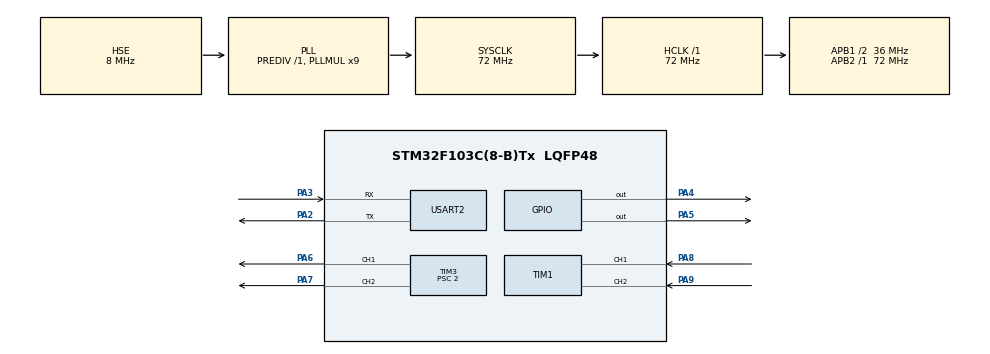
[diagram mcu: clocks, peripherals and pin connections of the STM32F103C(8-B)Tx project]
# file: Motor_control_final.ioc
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Mcu.Family=STM32F1
Mcu.Name=STM32F103C(8-B)Tx
Mcu.Package=LQFP48
NVIC.PriorityGroup=NVIC_PRIORITYGROUP_4
NVIC.TIM2_IRQn=true\:1\:0\:true\:false\:true\:true\:true
NVIC.USART2_IRQn=true\:1\:0\:true\:false\:true\:true\:true
PA13.Mode=Serial_Wire
PA13.Signal=SYS_JTMS-SWDIO
PA14.Mode=Serial_Wire
PA14.Signal=SYS_JTCK-SWCLK
PA2.Mode=Asynchronous
PA2.Signal=USART2_TX
PA3.Mode=Asynchronous
PA3.Signal=USART2_RX
PA4.Signal=GPIO_Output
PA5.Signal=GPIO_Output
PA6.Signal=S_TIM3_CH1
PA7.Signal=S_TIM3_CH2
PA8.Signal=S_TIM1_CH1
PA9.Signal=S_TIM1_CH2
PD0-OSC_IN.Mode=HSE-External-Oscillator
PD0-OSC_IN.Signal=RCC_OSC_IN
PD1-OSC_OUT.Mode=HSE-External-Oscillator
PD1-OSC_OUT.Signal=RCC_OSC_OUT
ProjectManager.HeapSize=0x200
ProjectManager.StackSize=0x400
ProjectManager.TargetToolchain=STM32CubeIDE
RCC.AHBFreq_Value=72000000
RCC.APB1CLKDivider=RCC_HCLK_DIV2
RCC.APB1Freq_Value=36000000
RCC.APB1TimFreq_Value=72000000
RCC.APB2Freq_Value=72000000
RCC.APB2TimFreq_Value=72000000
RCC.HCLKFreq_Value=72000000
RCC.PLLMUL=RCC_PLL_MUL9
RCC.PLLSourceVirtual=RCC_PLLSOURCE_HSE
RCC.SYSCLKFreq_VALUE=72000000
RCC.SYSCLKSource=RCC_SYSCLKSOURCE_PLLCLK
RCC.USBFreq_Value=72000000
SH.S_TIM1_CH1.0=TIM1_CH1,Encoder_Interface
SH.S_TIM1_CH2.0=TIM1_CH2,Encoder_Interface
SH.S_TIM3_CH1.0=TIM3_CH1,PWM Generation1 CH1
SH.S_TIM3_CH2.0=TIM3_CH2,PWM Generation2 CH2
TIM1.EncoderMode=TIM_ENCODERMODE_TI12
TIM2.AutoReloadPreload=TIM_AUTORELOAD_PRELOAD_ENABLE
TIM2.Period=1999
TIM2.Prescaler=719
TIM3.Channel-PWM\ Generation1\ CH1=TIM_CHANNEL_1
TIM3.Channel-PWM\ Generation2\ CH2=TIM_CHANNEL_2
TIM3.Period=999
TIM3.Prescaler=2
USART2.VirtualMode=VM_ASYNC
VP_TIM2_VS_ClockSourceINT.Mode=Internal
board=custom

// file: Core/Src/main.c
/* USER CODE BEGIN Header */
/**
  ******************************************************************************
  * @file           : main.c
  * @brief          : Main program body
  ******************************************************************************
  * @attention
  *
  * <h2><center>&copy; Copyright (c) 2022 STMicroelectronics.
  * All rights reserved.</center></h2>
  *
  * This software component is licensed by ST under BSD 3-Clause license,
  * the "License"; You may not use this file except in compliance with the
  * License. You may obtain a copy of the License at:
  *                        opensource.org/licenses/BSD-3-Clause
  *
  ******************************************************************************
  */
/* USER CODE END Header */
#include "main.h"

/* USER CODE BEGIN Includes */
#include <stdio.h>
#include <string.h>
#include <stdint.h>
/* USER CODE END Includes */

/* USER CODE BEGIN PTD */
typedef struct {
	float Kp;
	float Ki;
	float Kd;
	float ek_1;
	float I_part;
} PID_t;  //pid struct

enum
{
     ModeIdle = 0, //sleep
     ModePidPos,
	 ModePPR,
	 ModePidVel
}ModeEnum;
unsigned int ProcessMode = ModeIdle;
/* USER CODE END PTD */

/* USER CODE BEGIN PD */
#define Ts 0.02f
#define DUTY_50 150 //DUTY FOR GET PPR
#define T_60S 3000
/* USER CODE END PD */

TIM_HandleTypeDef htim1;
TIM_HandleTypeDef htim2;
TIM_HandleTypeDef htim3;

UART_HandleTypeDef huart2;

/* USER CODE BEGIN PV */
PID_t ParaPID;
int32_t EncPos; //Encoder Position
int32_t tempPos;
float speed[2];
float u_control; //duty
float setpoint;

char ProcessFlag = 0;
char TXData[40];
char RXData_Buff[40];

uint8_t RXData;
uint8_t RXIndex = 0;
uint8_t SysQuest = 10; //Start = 0, Stop = 1, Reset = 2
uint8_t Temp;
uint16_t rpm = 1;
uint16_t ppr = 1;
char PPRFlag =0;// Flag for get PPR
uint16_t count_60s = 0;// time check ppr
uint8_t EncMode;

/* USER CODE END PV */

void SystemClock_Config(void);
static void MX_GPIO_Init(void);
static void MX_TIM2_Init(void);
static void MX_TIM3_Init(void);
static void MX_USART2_UART_Init(void);
static void MX_TIM1_Init(void);
/* USER CODE BEGIN PFP */
void init_Encx1(void);
void init_Encx4(void);
/* USER CODE END PFP */

/* USER CODE BEGIN 0 */
void read_encoder()
{
	tempPos = (int16_t)(htim1.Instance->CNT);
	EncPos += tempPos;
	htim1.Instance->CNT=0;
}

void GetPPR(uint16_t local_rpm, uint16_t *p_ppr)
{
	u_control = 1;
	if(count_60s == T_60S)
	{
		*p_ppr = EncPos/local_rpm;
		count_60s = 0;
		PPRFlag = 1;
		EncPos = 0;
	}
}

void HAL_TIM_PeriodElapsedCallback(TIM_HandleTypeDef *htim)
{

	if(htim->Instance == htim2.Instance)
	{
		read_encoder();
		ProcessFlag=1;
		if(count_60s < T_60S) count_60s +=1;
	}
}

void PID_controller(float SP, float PV, PID_t *pid, float *u)
{
	float ek;
	ek = SP - PV;
	pid->I_part += Ts*ek;
	*u = pid->Kp*ek + pid->Ki*pid->I_part + pid->Kd*(ek-pid->ek_1)/Ts;
	pid->ek_1 = ek;
}

void xuat_PWM(float duty)  //use timer 2 to export PWM, 50Hz
{
	if (duty >= 1) duty = 1;
	else if (duty <= -1) duty = -1;

	int16_t pwm = duty*900;
	if (pwm>=0)
		{
			htim3.Instance->CCR1=0;
			htim3.Instance->CCR2=pwm;
		}
	else if(pwm < 0)
		{
			pwm *= -1;
			htim3.Instance->CCR2=0;
			htim3.Instance->CCR1=pwm;
		}
}

void process_RXData()
{
	if(RXData_Buff[0] == '0')
	{
		sscanf(RXData_Buff, "%u %u %u", &Temp, &SysQuest, &ProcessMode);
		if(SysQuest == 0)
		{

		}
		if(SysQuest == 1)
		{
			EncPos = 0;
			u_control = 0;
		}
		if(SysQuest == 2)
		{
			memset(&ParaPID, 0, sizeof(PID_t));
			memset(speed,0 , strlen(TXData));
			setpoint =0;
			EncPos = 0;
			u_control = 0;
		}
	}
	if(RXData_Buff[0] == '1')
	{
		sscanf(RXData_Buff, "%u %f %f %f %f", &Temp, &ParaPID.Kp, &ParaPID.Ki, &ParaPID.Kd, &setpoint);
		sprintf(TXData, "%u %.2f %.4f %.2f %.2f\n", 2, ParaPID.Kp, ParaPID.Ki, ParaPID.Kd, setpoint);
		HAL_UART_Transmit(&huart2, (uint8_t *)TXData, strlen(TXData), 30);
	}
	if(RXData_Buff[0] == '2')
	{
		sscanf(RXData_Buff, "%u %u %u %u", &Temp, &rpm, &ppr, &ProcessMode);
		sprintf(TXData, "%u\n", 3);
		HAL_UART_Transmit(&huart2, (uint8_t *)TXData, strlen(TXData),30);
		EncPos = 0;
	}
	if(RXData_Buff[0] == '3')
	{
		sscanf(RXData_Buff, "%u %u %u", &Temp, &EncMode, &ProcessMode);
		if(EncMode == 1)
		{
			sprintf(TXData, "%u\n", 4);
			HAL_UART_Transmit(&huart2, (uint8_t *)TXData, strlen(TXData), 30);
			init_Encx1();
		}
		if( EncMode == 4)
		{
			sprintf(TXData, "%u\n", 5);
			HAL_UART_Transmit(&huart2, (uint8_t *)TXData, strlen(TXData), 30);
			init_Encx4();
		}
	}
}

void HAL_UART_RxCpltCallback(UART_HandleTypeDef *huart)
{
	if(huart->Instance == huart2.Instance)
	{
		if(RXData != '\n') //line feed Ascii
		{
			RXData_Buff[RXIndex++] = RXData; //Save data in Rxbuff
		}
		else if (RXData == '\n')
		{
			RXIndex = 0;
			process_RXData();
		}
		HAL_UART_Receive_IT(&huart2, &RXData, 1);
	}
}

/* USER CODE END 0 */

int main(void)
{

  /* MCU Configuration--------------------------------------------------------*/

  /* Reset of all peripherals, Initializes the Flash interface and the Systick. */
  HAL_Init();

  /* Configure the system clock */
  SystemClock_Config();

  /* Initialize all configured peripherals */
  MX_GPIO_Init();
  MX_TIM2_Init();
  MX_TIM3_Init();
  MX_USART2_UART_Init();
  MX_TIM1_Init();
  /* USER CODE BEGIN 2 */
	HAL_TIM_Base_Start_IT(&htim2);
	HAL_TIM_Encoder_Start(&htim1, TIM_CHANNEL_1 | TIM_CHANNEL_2);
	HAL_TIM_PWM_Start(&htim3, TIM_CHANNEL_1);
	HAL_TIM_PWM_Start(&htim3, TIM_CHANNEL_2);
	HAL_UART_Receive_IT(&huart2, &RXData, 1);
  /* USER CODE END 2 */

  /* Infinite loop */
  while (1)
  {

    /* USER CODE BEGIN 3 */
	  HAL_GPIO_WritePin(GPIOA, GPIO_PIN_4, 1);
	  HAL_GPIO_WritePin(GPIOA, GPIO_PIN_5, 1);
	  xuat_PWM(u_control);
	  if(ProcessFlag == 1)
	  {
		  ProcessFlag = 0;
		  switch(ProcessMode)
		  {
		  case ModeIdle:
			  u_control = 0;
			  break;
		  case ModePidPos:
			  PID_controller(setpoint, (float)EncPos/ppr*360, &ParaPID, &u_control);
			  sprintf(TXData, "%u %.1f %.2f\n", 0, ((float)EncPos/ppr*360), u_control);
			  HAL_UART_Transmit(&huart2, (uint8_t *)TXData, strlen(TXData), 30);
			  break;
		  case ModePPR:
			  if(ppr == 0)
			  {
				  GetPPR(rpm, &ppr);
				  if(PPRFlag)
				  {
					  sprintf(TXData, "%u %u\n", 1, ppr);
					  HAL_UART_Transmit(&huart2, (uint8_t *)TXData, strlen(TXData), 30);
					  PPRFlag =0;
					  ProcessMode = ModeIdle;
					  EncPos = 0;
				  }
			  }
			  break;
		  }

	  }

  }
  /* USER CODE END 3 */
}

void SystemClock_Config(void)
{
  RCC_OscInitTypeDef RCC_OscInitStruct = {0};
  RCC_ClkInitTypeDef RCC_ClkInitStruct = {0};

  /** Initializes the RCC Oscillators according to the specified parameters
  * in the RCC_OscInitTypeDef structure.
  */
  RCC_OscInitStruct.OscillatorType = RCC_OSCILLATORTYPE_HSE;
  RCC_OscInitStruct.HSEState = RCC_HSE_ON;
  RCC_OscInitStruct.HSEPredivValue = RCC_HSE_PREDIV_DIV1;
  RCC_OscInitStruct.HSIState = RCC_HSI_ON;
  RCC_OscInitStruct.PLL.PLLState = RCC_PLL_ON;
  RCC_OscInitStruct.PLL.PLLSource = RCC_PLLSOURCE_HSE;
  RCC_OscInitStruct.PLL.PLLMUL = RCC_PLL_MUL9;
  if (HAL_RCC_OscConfig(&RCC_OscInitStruct) != HAL_OK)
  {
    Error_Handler();
  }
  /** Initializes the CPU, AHB and APB buses clocks
  */
  RCC_ClkInitStruct.ClockType = RCC_CLOCKTYPE_HCLK|RCC_CLOCKTYPE_SYSCLK
                              |RCC_CLOCKTYPE_PCLK1|RCC_CLOCKTYPE_PCLK2;
  RCC_ClkInitStruct.SYSCLKSource = RCC_SYSCLKSOURCE_PLLCLK;
  RCC_ClkInitStruct.AHBCLKDivider = RCC_SYSCLK_DIV1;
  RCC_ClkInitStruct.APB1CLKDivider = RCC_HCLK_DIV2;
  RCC_ClkInitStruct.APB2CLKDivider = RCC_HCLK_DIV1;

  if (HAL_RCC_ClockConfig(&RCC_ClkInitStruct, FLASH_LATENCY_2) != HAL_OK)
  {
    Error_Handler();
  }
}

static void MX_TIM1_Init(void)
{

  TIM_Encoder_InitTypeDef sConfig = {0};
  TIM_MasterConfigTypeDef sMasterConfig = {0};

  htim1.Instance = TIM1;
  htim1.Init.Prescaler = 0;
  htim1.Init.CounterMode = TIM_COUNTERMODE_UP;
  htim1.Init.Period = 65535;
  htim1.Init.ClockDivision = TIM_CLOCKDIVISION_DIV1;
  htim1.Init.RepetitionCounter = 0;
  htim1.Init.AutoReloadPreload = TIM_AUTORELOAD_PRELOAD_DISABLE;
  sConfig.EncoderMode = TIM_ENCODERMODE_TI12;
  sConfig.IC1Polarity = TIM_ICPOLARITY_RISING;
  sConfig.IC1Selection = TIM_ICSELECTION_DIRECTTI;
  sConfig.IC1Prescaler = TIM_ICPSC_DIV1;
  sConfig.IC1Filter = 0;
  sConfig.IC2Polarity = TIM_ICPOLARITY_RISING;
  sConfig.IC2Selection = TIM_ICSELECTION_DIRECTTI;
  sConfig.IC2Prescaler = TIM_ICPSC_DIV1;
  sConfig.IC2Filter = 0;
  if (HAL_TIM_Encoder_Init(&htim1, &sConfig) != HAL_OK)
  {
    Error_Handler();
  }
  sMasterConfig.MasterOutputTrigger = TIM_TRGO_RESET;
  sMasterConfig.MasterSlaveMode = TIM_MASTERSLAVEMODE_DISABLE;
  if (HAL_TIMEx_MasterConfigSynchronization(&htim1, &sMasterConfig) != HAL_OK)
  {
    Error_Handler();
  }

}

static void MX_TIM2_Init(void)
{

  TIM_ClockConfigTypeDef sClockSourceConfig = {0};
  TIM_MasterConfigTypeDef sMasterConfig = {0};

  htim2.Instance = TIM2;
  htim2.Init.Prescaler = 288-1;
  htim2.Init.CounterMode = TIM_COUNTERMODE_UP;
  htim2.Init.Period = 4999;
  htim2.Init.ClockDivision = TIM_CLOCKDIVISION_DIV1;
  htim2.Init.AutoReloadPreload = TIM_AUTORELOAD_PRELOAD_ENABLE;
  if (HAL_TIM_Base_Init(&htim2) != HAL_OK)
  {
    Error_Handler();
  }
  sClockSourceConfig.ClockSource = TIM_CLOCKSOURCE_INTERNAL;
  if (HAL_TIM_ConfigClockSource(&htim2, &sClockSourceConfig) != HAL_OK)
  {
    Error_Handler();
  }
  sMasterConfig.MasterOutputTrigger = TIM_TRGO_RESET;
  sMasterConfig.MasterSlaveMode = TIM_MASTERSLAVEMODE_DISABLE;
  if (HAL_TIMEx_MasterConfigSynchronization(&htim2, &sMasterConfig) != HAL_OK)
  {
    Error_Handler();
  }

}

static void MX_TIM3_Init(void)
{

  TIM_MasterConfigTypeDef sMasterConfig = {0};
  TIM_OC_InitTypeDef sConfigOC = {0};

  htim3.Instance = TIM3;
  htim3.Init.Prescaler = 2;
  htim3.Init.CounterMode = TIM_COUNTERMODE_UP;
  htim3.Init.Period = 999;
  htim3.Init.ClockDivision = TIM_CLOCKDIVISION_DIV1;
  htim3.Init.AutoReloadPreload = TIM_AUTORELOAD_PRELOAD_DISABLE;
  if (HAL_TIM_PWM_Init(&htim3) != HAL_OK)
  {
    Error_Handler();
  }
  sMasterConfig.MasterOutputTrigger = TIM_TRGO_RESET;
  sMasterConfig.MasterSlaveMode = TIM_MASTERSLAVEMODE_DISABLE;
  if (HAL_TIMEx_MasterConfigSynchronization(&htim3, &sMasterConfig) != HAL_OK)
  {
    Error_Handler();
  }
  sConfigOC.OCMode = TIM_OCMODE_PWM1;
  sConfigOC.Pulse = 0;
  sConfigOC.OCPolarity = TIM_OCPOLARITY_HIGH;
  sConfigOC.OCFastMode = TIM_OCFAST_DISABLE;
  if (HAL_TIM_PWM_ConfigChannel(&htim3, &sConfigOC, TIM_CHANNEL_1) != HAL_OK)
  {
    Error_Handler();
  }
  if (HAL_TIM_PWM_ConfigChannel(&htim3, &sConfigOC, TIM_CHANNEL_2) != HAL_OK)
  {
    Error_Handler();
  }
  HAL_TIM_MspPostInit(&htim3);

}

static void MX_USART2_UART_Init(void)
{

  huart2.Instance = USART2;
  huart2.Init.BaudRate = 115200;
  huart2.Init.WordLength = UART_WORDLENGTH_8B;
  huart2.Init.StopBits = UART_STOPBITS_1;
  huart2.Init.Parity = UART_PARITY_NONE;
  huart2.Init.Mode = UART_MODE_TX_RX;
  huart2.Init.HwFlowCtl = UART_HWCONTROL_NONE;
  huart2.Init.OverSampling = UART_OVERSAMPLING_16;
  if (HAL_UART_Init(&huart2) != HAL_OK)
  {
    Error_Handler();
  }

}

static void MX_GPIO_Init(void)
{
  GPIO_InitTypeDef GPIO_InitStruct = {0};

  /* GPIO Ports Clock Enable */
  __HAL_RCC_GPIOD_CLK_ENABLE();
  __HAL_RCC_GPIOA_CLK_ENABLE();

  /*Configure GPIO pin Output Level */
  HAL_GPIO_WritePin(GPIOA, GPIO_PIN_4|GPIO_PIN_5, GPIO_PIN_RESET);

  /*Configure GPIO pins : PA4 PA5 */
  GPIO_InitStruct.Pin = GPIO_PIN_4|GPIO_PIN_5;
  GPIO_InitStruct.Mode = GPIO_MODE_OUTPUT_PP;
  GPIO_InitStruct.Pull = GPIO_NOPULL;
  GPIO_InitStruct.Speed = GPIO_SPEED_FREQ_LOW;
  HAL_GPIO_Init(GPIOA, &GPIO_InitStruct);

}

/* USER CODE BEGIN 4 */

void init_Encx1(void)
{

	  /* USER CODE BEGIN TIM3_Init 0 */

	  /* USER CODE END TIM3_Init 0 */

	  TIM_Encoder_InitTypeDef sConfig = {0};
	  TIM_MasterConfigTypeDef sMasterConfig = {0};

	  htim1.Instance = TIM1;
	  htim1.Init.Prescaler = 3;
	  htim1.Init.CounterMode = TIM_COUNTERMODE_UP;
	  htim1.Init.Period = 65535;
	  htim1.Init.ClockDivision = TIM_CLOCKDIVISION_DIV1;
	  htim1.Init.AutoReloadPreload = TIM_AUTORELOAD_PRELOAD_DISABLE;
	  sConfig.EncoderMode = TIM_ENCODERMODE_TI12;
	  sConfig.IC1Polarity = TIM_ICPOLARITY_RISING;
	  sConfig.IC1Selection = TIM_ICSELECTION_DIRECTTI;
	  sConfig.IC1Prescaler = TIM_ICPSC_DIV1;
	  sConfig.IC1Filter = 0;
	  sConfig.IC2Polarity = TIM_ICPOLARITY_RISING;
	  sConfig.IC2Selection = TIM_ICSELECTION_DIRECTTI;
	  sConfig.IC2Prescaler = TIM_ICPSC_DIV1;
	  sConfig.IC2Filter = 0;
	  if (HAL_TIM_Encoder_Init(&htim1, &sConfig) != HAL_OK)
	  {
	    Error_Handler();
	  }
	  sMasterConfig.MasterOutputTrigger = TIM_TRGO_RESET;
	  sMasterConfig.MasterSlaveMode = TIM_MASTERSLAVEMODE_DISABLE;
	  if (HAL_TIMEx_MasterConfigSynchronization(&htim1, &sMasterConfig) != HAL_OK)
	  {
	    Error_Handler();
	  }
	  /* USER CODE BEGIN TIM3_Init 2 */

	  /* USER CODE END TIM3_Init 2 */

}

void init_Encx4(void)
{

	  /* USER CODE BEGIN TIM3_Init 0 */

	  /* USER CODE END TIM3_Init 0 */

	  TIM_Encoder_InitTypeDef sConfig = {0};
	  TIM_MasterConfigTypeDef sMasterConfig = {0};

	  /* USER CODE BEGIN TIM3_Init 1 */

	  /* USER CODE END TIM3_Init 1 */
	  htim1.Instance = TIM1;
	  htim1.Init.Prescaler = 0;
	  htim1.Init.CounterMode = TIM_COUNTERMODE_UP;
	  htim1.Init.Period = 65535;
	  htim1.Init.ClockDivision = TIM_CLOCKDIVISION_DIV1;
	  sConfig.EncoderMode = TIM_ENCODERMODE_TI12;
	  sConfig.IC1Polarity = TIM_ICPOLARITY_RISING;
	  sConfig.IC1Selection = TIM_ICSELECTION_DIRECTTI;
	  sConfig.IC1Prescaler = TIM_ICPSC_DIV1;
	  sConfig.IC1Filter = 0;
	  sConfig.IC2Polarity = TIM_ICPOLARITY_RISING;
	  sConfig.IC2Selection = TIM_ICSELECTION_DIRECTTI;
	  sConfig.IC2Prescaler = TIM_ICPSC_DIV1;
	  sConfig.IC2Filter = 0;
	  if (HAL_TIM_Encoder_Init(&htim1, &sConfig) != HAL_OK)
	  {
	    Error_Handler();
	  }
	  sMasterConfig.MasterOutputTrigger = TIM_TRGO_RESET;
	  sMasterConfig.MasterSlaveMode = TIM_MASTERSLAVEMODE_DISABLE;
	  if (HAL_TIMEx_MasterConfigSynchronization(&htim1, &sMasterConfig) != HAL_OK)
	  {
	    Error_Handler();
	  }

}
/* USER CODE END 4 */

void Error_Handler(void)
{
  __disable_irq();
  while (1)
  {
  }
}

/************************ (C) COPYRIGHT STMicroelectronics *****END OF FILE****/
